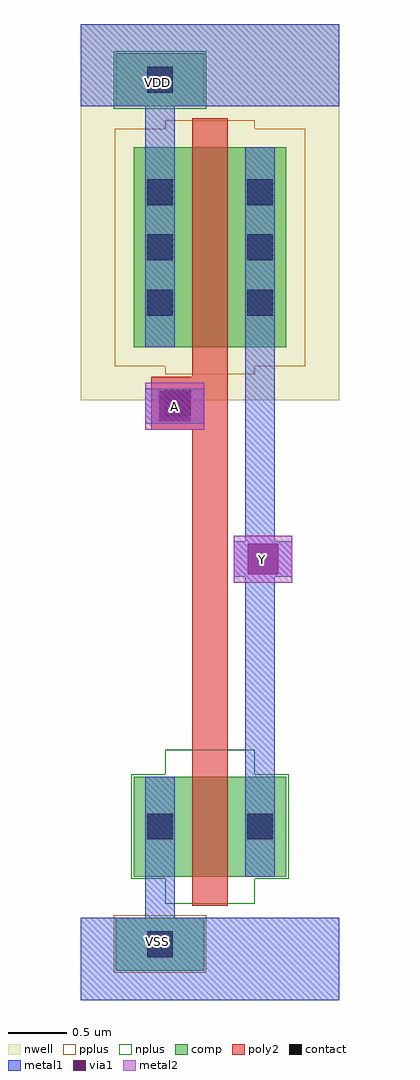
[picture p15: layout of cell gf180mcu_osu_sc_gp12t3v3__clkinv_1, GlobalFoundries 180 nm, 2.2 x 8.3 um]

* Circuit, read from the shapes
.subckt gf180mcu_osu_sc_gp12t3v3__clkinv_1 A VDD VSS Y
XM1 Y A VSS VSS nfet_03v3 w=0.85u l=0.3u
XM2 Y A VDD VDD pfet_03v3 w=1.7u l=0.3u
.ends

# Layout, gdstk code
import gdstk
lib = gdstk.Library(unit=1e-6, precision=1e-09)
def R(c, l, rs):  # rectangles x0, y0, x1, y1
    for r in rs: c.add(gdstk.rectangle(r[:2], r[2:], *l))
def A(c, l, x, y, w, h, nx, ny, dx, dy):  # array of equal rectangles
    R(c, l, [(x+i*dx, y+j*dy, x+i*dx+w, y+j*dy+h) for i in range(nx) for j in range(ny)])
nwell = (21, 0)
comp = (22, 0)
poly2 = (30, 0)
pplus = (31, 0)
nplus = (32, 0)
contact = (33, 0)
metal1 = (34, 0)
via1 = (35, 0)
metal2 = (36, 0)

gf180mcu_osu_sc_gp12t3v3 = lib.new_cell('gf180mcu_osu_sc_gp12t3v3__clkinv_1')
R(gf180mcu_osu_sc_gp12t3v3, nwell, [(0,5.1,2.2,8.3)])
R(gf180mcu_osu_sc_gp12t3v3, comp, [(0.3,0.25,1.05,0.7), (0.45,1.05,1.75,1.9), (0.45,5.55,1.75,7.25), (0.3,7.6,1.05,8.05)])
R(gf180mcu_osu_sc_gp12t3v3, poly2, [(0.95,0.8,1.25,4.85), (0.6,4.85,1.25,5.3), (0.95,5.3,1.25,7.5)])
R(gf180mcu_osu_sc_gp12t3v3, pplus, [(0.28,0.23,1.07,0.72), (0.72,5.32,1.48,5.39), (0.29,5.39,1.91,7.41), (0.72,7.41,1.48,7.48)])
R(gf180mcu_osu_sc_gp12t3v3, nplus, [(0.72,0.82,1.48,1.03), (0.43,1.03,1.77,1.92), (0.72,1.92,1.48,2.13), (0.28,7.58,1.07,8.07)])
A(gf180mcu_osu_sc_gp12t3v3, contact, 0.565, 5.82, 0.22, 0.22, 1, 3, 0, 0.47)
A(gf180mcu_osu_sc_gp12t3v3, contact, 1.415, 5.82, 0.22, 0.22, 1, 3, 0, 0.47)
R(gf180mcu_osu_sc_gp12t3v3, contact, [(0.565,0.365,0.785,0.585), (0.565,1.365,0.785,1.585), (1.415,1.365,1.635,1.585), (0.715,4.965,0.935,5.185), (0.565,7.715,0.785,7.935)])
R(gf180mcu_osu_sc_gp12t3v3, metal1, [(0,0,2.2,0.7), (0.55,0.7,0.8,1.9), (1.4,1.05,1.65,3.6), (1.3,3.6,1.8,3.9), (1.4,3.9,1.65,7.25), (0.55,4.9,1.05,5.2), (0.55,5.55,0.8,7.6), (0,7.6,2.2,8.3)])
R(gf180mcu_osu_sc_gp12t3v3, via1, [(1.42,3.62,1.68,3.88), (0.67,4.92,0.93,5.18)])
R(gf180mcu_osu_sc_gp12t3v3, metal2, [(1.3,3.55,1.8,3.95), (0.55,4.85,1.05,5.25)])
gf180mcu_osu_sc_gp12t3v3.add(gdstk.Label('A', (0.8,5.05), layer=36, texttype=10))
gf180mcu_osu_sc_gp12t3v3.add(gdstk.Label('Y', (1.55,3.75), layer=36, texttype=10))
gf180mcu_osu_sc_gp12t3v3.add(gdstk.Label('VDD', (0.65,7.8), layer=34, texttype=10))
gf180mcu_osu_sc_gp12t3v3.add(gdstk.Label('VSS', (0.65,0.5), layer=34, texttype=10))

lib.write_gds('gf180mcu_osu_sc_gp12t3v3__clkinv_1.gds')
